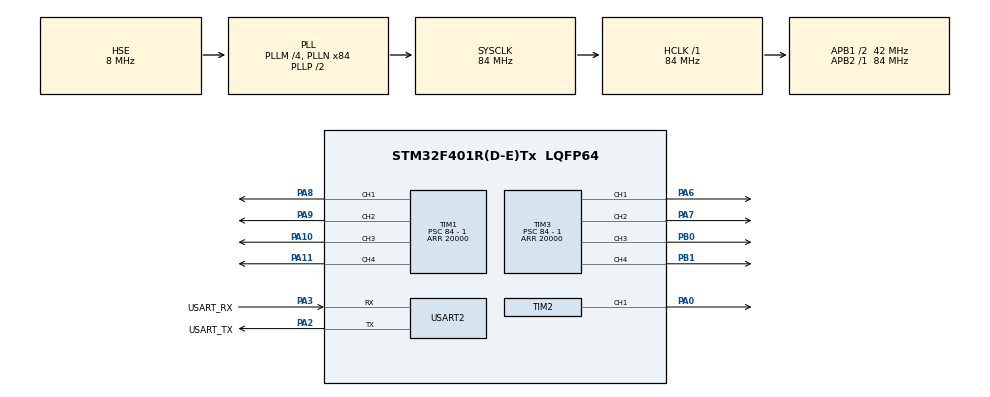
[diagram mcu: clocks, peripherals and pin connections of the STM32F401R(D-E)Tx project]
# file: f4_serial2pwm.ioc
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Mcu.Family=STM32F4
Mcu.Name=STM32F401R(D-E)Tx
Mcu.Package=LQFP64
NVIC.PriorityGroup=NVIC_PRIORITYGROUP_4
NVIC.USART2_IRQn=true\:0\:0\:false\:false\:true\:true\:true\:true
PA0-WKUP.Signal=S_TIM2_CH1_ETR
PA10.Signal=S_TIM1_CH3
PA11.Signal=S_TIM1_CH4
PA2.GPIO_Label=USART_TX
PA2.GPIO_Mode=GPIO_MODE_AF_PP
PA2.GPIO_PuPd=GPIO_NOPULL
PA2.GPIO_Speed=GPIO_SPEED_FREQ_LOW
PA2.Mode=Asynchronous
PA2.Signal=USART2_TX
PA3.GPIO_Label=USART_RX
PA3.GPIO_Mode=GPIO_MODE_AF_PP
PA3.GPIO_PuPd=GPIO_NOPULL
PA3.GPIO_Speed=GPIO_SPEED_FREQ_LOW
PA3.Mode=Asynchronous
PA3.Signal=USART2_RX
PA6.Signal=S_TIM3_CH1
PA7.Signal=S_TIM3_CH2
PA8.Signal=S_TIM1_CH1
PA9.Signal=S_TIM1_CH2
PB0.Signal=S_TIM3_CH3
PB1.Signal=S_TIM3_CH4
PH0\ -\ OSC_IN.Mode=HSE-External-Oscillator
PH0\ -\ OSC_IN.Signal=RCC_OSC_IN
PH1\ -\ OSC_OUT.Mode=HSE-External-Oscillator
PH1\ -\ OSC_OUT.Signal=RCC_OSC_OUT
ProjectManager.HeapSize=0x200
ProjectManager.StackSize=0x400
ProjectManager.TargetToolchain=STM32CubeIDE
RCC.48MHZClocksFreq_Value=24000000
RCC.AHBFreq_Value=84000000
RCC.APB1CLKDivider=RCC_HCLK_DIV2
RCC.APB1Freq_Value=42000000
RCC.APB1TimFreq_Value=84000000
RCC.APB2Freq_Value=84000000
RCC.APB2TimFreq_Value=84000000
RCC.CortexFreq_Value=84000000
RCC.HCLKFreq_Value=84000000
RCC.HSE_VALUE=8000000
RCC.HSI_VALUE=16000000
RCC.LSE_VALUE=32768
RCC.PLLM=4
RCC.PLLN=84
RCC.PLLQ=7
RCC.PLLSourceVirtual=RCC_PLLSOURCE_HSE
RCC.SYSCLKFreq_VALUE=84000000
RCC.SYSCLKSource=RCC_SYSCLKSOURCE_PLLCLK
RCC.VCOOutputFreq_Value=168000000
SH.S_TIM1_CH1.0=TIM1_CH1,PWM Generation1 CH1
SH.S_TIM1_CH2.0=TIM1_CH2,PWM Generation2 CH2
SH.S_TIM1_CH3.0=TIM1_CH3,PWM Generation3 CH3
SH.S_TIM1_CH4.0=TIM1_CH4,PWM Generation4 CH4
SH.S_TIM2_CH1_ETR.0=TIM2_CH1,PWM Generation1 CH1
SH.S_TIM3_CH1.0=TIM3_CH1,PWM Generation1 CH1
SH.S_TIM3_CH2.0=TIM3_CH2,PWM Generation2 CH2
SH.S_TIM3_CH3.0=TIM3_CH3,PWM Generation3 CH3
SH.S_TIM3_CH4.0=TIM3_CH4,PWM Generation4 CH4
TIM1.AutoReloadPreload=TIM_AUTORELOAD_PRELOAD_ENABLE
TIM1.Channel-PWM\ Generation1\ CH1=TIM_CHANNEL_1
TIM1.Channel-PWM\ Generation2\ CH2=TIM_CHANNEL_2
TIM1.Channel-PWM\ Generation3\ CH3=TIM_CHANNEL_3
TIM1.Channel-PWM\ Generation4\ CH4=TIM_CHANNEL_4
TIM1.Period=20000
TIM1.Prescaler=84 - 1
TIM1.Pulse-PWM\ Generation1\ CH1=0
TIM1.Pulse-PWM\ Generation2\ CH2=0
TIM1.Pulse-PWM\ Generation3\ CH3=0
TIM2.AutoReloadPreload=TIM_AUTORELOAD_PRELOAD_ENABLE
TIM2.Channel-PWM\ Generation1\ CH1=TIM_CHANNEL_1
TIM2.Period=20000
TIM2.Prescaler=84 - 1
TIM2.Pulse-PWM\ Generation1\ CH1=0
TIM3.AutoReloadPreload=TIM_AUTORELOAD_PRELOAD_ENABLE
TIM3.Channel-PWM\ Generation1\ CH1=TIM_CHANNEL_1
TIM3.Channel-PWM\ Generation2\ CH2=TIM_CHANNEL_2
TIM3.Channel-PWM\ Generation3\ CH3=TIM_CHANNEL_3
TIM3.Channel-PWM\ Generation4\ CH4=TIM_CHANNEL_4
TIM3.Period=20000
TIM3.Prescaler=84 - 1
TIM3.Pulse-PWM\ Generation1\ CH1=0
TIM3.Pulse-PWM\ Generation2\ CH2=0
TIM3.Pulse-PWM\ Generation3\ CH3=0
TIM3.Pulse-PWM\ Generation4\ CH4=0
USART2.VirtualMode=VM_ASYNC
VP_TIM1_VS_ClockSourceINT.Mode=Internal
VP_TIM2_VS_ClockSourceINT.Mode=Internal
VP_TIM3_VS_ClockSourceINT.Mode=Internal
board=NUCLEO-F401RE

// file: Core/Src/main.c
/* USER CODE BEGIN Header */
/**
  ******************************************************************************
  * @file           : main.c
  * @brief          : Main program body
  ******************************************************************************
  * @attention
  *
  * Copyright (c) 2026 STMicroelectronics.
  * All rights reserved.
  *
  * This software is licensed under terms that can be found in the LICENSE file
  * in the root directory of this software component.
  * If no LICENSE file comes with this software, it is provided AS-IS.
  *
  ******************************************************************************
  */
/* USER CODE END Header */
#include "main.h"

TIM_HandleTypeDef htim1;
TIM_HandleTypeDef htim2;
TIM_HandleTypeDef htim3;

UART_HandleTypeDef huart2;

/* USER CODE BEGIN PV */

uint16_t pwm_values[8];

/* USER CODE END PV */

void SystemClock_Config(void);
static void MX_GPIO_Init(void);
static void MX_USART2_UART_Init(void);
static void MX_TIM1_Init(void);
static void MX_TIM3_Init(void);
static void MX_TIM2_Init(void);

/* USER CODE BEGIN 0 */

void HAL_UART_RxCpltCallback(UART_HandleTypeDef *huart)
{
	htim1.Instance->CCR1 = pwm_values[0];
	htim1.Instance->CCR2 = pwm_values[1];
	htim1.Instance->CCR3 = pwm_values[2];
	htim2.Instance->CCR1 = pwm_values[3];
	htim3.Instance->CCR1 = pwm_values[4];
	htim3.Instance->CCR2 = pwm_values[5];
	htim3.Instance->CCR3 = pwm_values[6];
	htim3.Instance->CCR4 = pwm_values[7];
	HAL_UART_Receive_IT(&huart2, (uint8_t *)pwm_values, 16);
}

/* USER CODE END 0 */

int main(void)
{

  /* MCU Configuration--------------------------------------------------------*/

  /* Reset of all peripherals, Initializes the Flash interface and the Systick. */
  HAL_Init();

  /* Configure the system clock */
  SystemClock_Config();

  /* Initialize all configured peripherals */
  MX_GPIO_Init();
  MX_USART2_UART_Init();
  MX_TIM1_Init();
  MX_TIM3_Init();
  MX_TIM2_Init();
  /* USER CODE BEGIN 2 */
  HAL_UART_Receive_IT(&huart2, (uint8_t *)pwm_values, 16);

  HAL_TIM_PWM_Start(&htim1, TIM_CHANNEL_1);
  HAL_TIM_PWM_Start(&htim1, TIM_CHANNEL_2);
  HAL_TIM_PWM_Start(&htim1, TIM_CHANNEL_3);
  HAL_TIM_PWM_Start(&htim2, TIM_CHANNEL_1);
  HAL_TIM_PWM_Start(&htim3, TIM_CHANNEL_1);
  HAL_TIM_PWM_Start(&htim3, TIM_CHANNEL_2);
  HAL_TIM_PWM_Start(&htim3, TIM_CHANNEL_3);
  HAL_TIM_PWM_Start(&htim3, TIM_CHANNEL_4);
  /* USER CODE END 2 */

  /* Infinite loop */
  while (1)
  {

  }
}

void SystemClock_Config(void)
{
  RCC_OscInitTypeDef RCC_OscInitStruct = {0};
  RCC_ClkInitTypeDef RCC_ClkInitStruct = {0};

  /** Configure the main internal regulator output voltage
  */
  __HAL_RCC_PWR_CLK_ENABLE();
  __HAL_PWR_VOLTAGESCALING_CONFIG(PWR_REGULATOR_VOLTAGE_SCALE2);

  /** Initializes the RCC Oscillators according to the specified parameters
  * in the RCC_OscInitTypeDef structure.
  */
  RCC_OscInitStruct.OscillatorType = RCC_OSCILLATORTYPE_HSE;
  RCC_OscInitStruct.HSEState = RCC_HSE_ON;
  RCC_OscInitStruct.PLL.PLLState = RCC_PLL_ON;
  RCC_OscInitStruct.PLL.PLLSource = RCC_PLLSOURCE_HSE;
  RCC_OscInitStruct.PLL.PLLM = 4;
  RCC_OscInitStruct.PLL.PLLN = 84;
  RCC_OscInitStruct.PLL.PLLP = RCC_PLLP_DIV2;
  RCC_OscInitStruct.PLL.PLLQ = 7;
  if (HAL_RCC_OscConfig(&RCC_OscInitStruct) != HAL_OK)
  {
    Error_Handler();
  }

  /** Initializes the CPU, AHB and APB buses clocks
  */
  RCC_ClkInitStruct.ClockType = RCC_CLOCKTYPE_HCLK|RCC_CLOCKTYPE_SYSCLK
                              |RCC_CLOCKTYPE_PCLK1|RCC_CLOCKTYPE_PCLK2;
  RCC_ClkInitStruct.SYSCLKSource = RCC_SYSCLKSOURCE_PLLCLK;
  RCC_ClkInitStruct.AHBCLKDivider = RCC_SYSCLK_DIV1;
  RCC_ClkInitStruct.APB1CLKDivider = RCC_HCLK_DIV2;
  RCC_ClkInitStruct.APB2CLKDivider = RCC_HCLK_DIV1;

  if (HAL_RCC_ClockConfig(&RCC_ClkInitStruct, FLASH_LATENCY_2) != HAL_OK)
  {
    Error_Handler();
  }
}

static void MX_TIM1_Init(void)
{

  TIM_ClockConfigTypeDef sClockSourceConfig = {0};
  TIM_MasterConfigTypeDef sMasterConfig = {0};
  TIM_OC_InitTypeDef sConfigOC = {0};
  TIM_BreakDeadTimeConfigTypeDef sBreakDeadTimeConfig = {0};

  htim1.Instance = TIM1;
  htim1.Init.Prescaler = 84 - 1;
  htim1.Init.CounterMode = TIM_COUNTERMODE_UP;
  htim1.Init.Period = 20000;
  htim1.Init.ClockDivision = TIM_CLOCKDIVISION_DIV1;
  htim1.Init.RepetitionCounter = 0;
  htim1.Init.AutoReloadPreload = TIM_AUTORELOAD_PRELOAD_ENABLE;
  if (HAL_TIM_Base_Init(&htim1) != HAL_OK)
  {
    Error_Handler();
  }
  sClockSourceConfig.ClockSource = TIM_CLOCKSOURCE_INTERNAL;
  if (HAL_TIM_ConfigClockSource(&htim1, &sClockSourceConfig) != HAL_OK)
  {
    Error_Handler();
  }
  if (HAL_TIM_PWM_Init(&htim1) != HAL_OK)
  {
    Error_Handler();
  }
  sMasterConfig.MasterOutputTrigger = TIM_TRGO_RESET;
  sMasterConfig.MasterSlaveMode = TIM_MASTERSLAVEMODE_DISABLE;
  if (HAL_TIMEx_MasterConfigSynchronization(&htim1, &sMasterConfig) != HAL_OK)
  {
    Error_Handler();
  }
  sConfigOC.OCMode = TIM_OCMODE_PWM1;
  sConfigOC.Pulse = 0;
  sConfigOC.OCPolarity = TIM_OCPOLARITY_HIGH;
  sConfigOC.OCNPolarity = TIM_OCNPOLARITY_HIGH;
  sConfigOC.OCFastMode = TIM_OCFAST_DISABLE;
  sConfigOC.OCIdleState = TIM_OCIDLESTATE_RESET;
  sConfigOC.OCNIdleState = TIM_OCNIDLESTATE_RESET;
  if (HAL_TIM_PWM_ConfigChannel(&htim1, &sConfigOC, TIM_CHANNEL_1) != HAL_OK)
  {
    Error_Handler();
  }
  if (HAL_TIM_PWM_ConfigChannel(&htim1, &sConfigOC, TIM_CHANNEL_2) != HAL_OK)
  {
    Error_Handler();
  }
  if (HAL_TIM_PWM_ConfigChannel(&htim1, &sConfigOC, TIM_CHANNEL_3) != HAL_OK)
  {
    Error_Handler();
  }
  if (HAL_TIM_PWM_ConfigChannel(&htim1, &sConfigOC, TIM_CHANNEL_4) != HAL_OK)
  {
    Error_Handler();
  }
  sBreakDeadTimeConfig.OffStateRunMode = TIM_OSSR_DISABLE;
  sBreakDeadTimeConfig.OffStateIDLEMode = TIM_OSSI_DISABLE;
  sBreakDeadTimeConfig.LockLevel = TIM_LOCKLEVEL_OFF;
  sBreakDeadTimeConfig.DeadTime = 0;
  sBreakDeadTimeConfig.BreakState = TIM_BREAK_DISABLE;
  sBreakDeadTimeConfig.BreakPolarity = TIM_BREAKPOLARITY_HIGH;
  sBreakDeadTimeConfig.AutomaticOutput = TIM_AUTOMATICOUTPUT_DISABLE;
  if (HAL_TIMEx_ConfigBreakDeadTime(&htim1, &sBreakDeadTimeConfig) != HAL_OK)
  {
    Error_Handler();
  }
  HAL_TIM_MspPostInit(&htim1);

}

static void MX_TIM2_Init(void)
{

  TIM_ClockConfigTypeDef sClockSourceConfig = {0};
  TIM_MasterConfigTypeDef sMasterConfig = {0};
  TIM_OC_InitTypeDef sConfigOC = {0};

  htim2.Instance = TIM2;
  htim2.Init.Prescaler = 84 - 1;
  htim2.Init.CounterMode = TIM_COUNTERMODE_UP;
  htim2.Init.Period = 20000;
  htim2.Init.ClockDivision = TIM_CLOCKDIVISION_DIV1;
  htim2.Init.AutoReloadPreload = TIM_AUTORELOAD_PRELOAD_ENABLE;
  if (HAL_TIM_Base_Init(&htim2) != HAL_OK)
  {
    Error_Handler();
  }
  sClockSourceConfig.ClockSource = TIM_CLOCKSOURCE_INTERNAL;
  if (HAL_TIM_ConfigClockSource(&htim2, &sClockSourceConfig) != HAL_OK)
  {
    Error_Handler();
  }
  if (HAL_TIM_PWM_Init(&htim2) != HAL_OK)
  {
    Error_Handler();
  }
  sMasterConfig.MasterOutputTrigger = TIM_TRGO_RESET;
  sMasterConfig.MasterSlaveMode = TIM_MASTERSLAVEMODE_DISABLE;
  if (HAL_TIMEx_MasterConfigSynchronization(&htim2, &sMasterConfig) != HAL_OK)
  {
    Error_Handler();
  }
  sConfigOC.OCMode = TIM_OCMODE_PWM1;
  sConfigOC.Pulse = 0;
  sConfigOC.OCPolarity = TIM_OCPOLARITY_HIGH;
  sConfigOC.OCFastMode = TIM_OCFAST_DISABLE;
  if (HAL_TIM_PWM_ConfigChannel(&htim2, &sConfigOC, TIM_CHANNEL_1) != HAL_OK)
  {
    Error_Handler();
  }
  HAL_TIM_MspPostInit(&htim2);

}

static void MX_TIM3_Init(void)
{

  TIM_ClockConfigTypeDef sClockSourceConfig = {0};
  TIM_MasterConfigTypeDef sMasterConfig = {0};
  TIM_OC_InitTypeDef sConfigOC = {0};

  htim3.Instance = TIM3;
  htim3.Init.Prescaler = 84 - 1;
  htim3.Init.CounterMode = TIM_COUNTERMODE_UP;
  htim3.Init.Period = 20000;
  htim3.Init.ClockDivision = TIM_CLOCKDIVISION_DIV1;
  htim3.Init.AutoReloadPreload = TIM_AUTORELOAD_PRELOAD_ENABLE;
  if (HAL_TIM_Base_Init(&htim3) != HAL_OK)
  {
    Error_Handler();
  }
  sClockSourceConfig.ClockSource = TIM_CLOCKSOURCE_INTERNAL;
  if (HAL_TIM_ConfigClockSource(&htim3, &sClockSourceConfig) != HAL_OK)
  {
    Error_Handler();
  }
  if (HAL_TIM_PWM_Init(&htim3) != HAL_OK)
  {
    Error_Handler();
  }
  sMasterConfig.MasterOutputTrigger = TIM_TRGO_RESET;
  sMasterConfig.MasterSlaveMode = TIM_MASTERSLAVEMODE_DISABLE;
  if (HAL_TIMEx_MasterConfigSynchronization(&htim3, &sMasterConfig) != HAL_OK)
  {
    Error_Handler();
  }
  sConfigOC.OCMode = TIM_OCMODE_PWM1;
  sConfigOC.Pulse = 0;
  sConfigOC.OCPolarity = TIM_OCPOLARITY_HIGH;
  sConfigOC.OCFastMode = TIM_OCFAST_DISABLE;
  if (HAL_TIM_PWM_ConfigChannel(&htim3, &sConfigOC, TIM_CHANNEL_1) != HAL_OK)
  {
    Error_Handler();
  }
  if (HAL_TIM_PWM_ConfigChannel(&htim3, &sConfigOC, TIM_CHANNEL_2) != HAL_OK)
  {
    Error_Handler();
  }
  if (HAL_TIM_PWM_ConfigChannel(&htim3, &sConfigOC, TIM_CHANNEL_3) != HAL_OK)
  {
    Error_Handler();
  }
  if (HAL_TIM_PWM_ConfigChannel(&htim3, &sConfigOC, TIM_CHANNEL_4) != HAL_OK)
  {
    Error_Handler();
  }
  HAL_TIM_MspPostInit(&htim3);

}

static void MX_USART2_UART_Init(void)
{

  huart2.Instance = USART2;
  huart2.Init.BaudRate = 115200;
  huart2.Init.WordLength = UART_WORDLENGTH_8B;
  huart2.Init.StopBits = UART_STOPBITS_1;
  huart2.Init.Parity = UART_PARITY_NONE;
  huart2.Init.Mode = UART_MODE_TX_RX;
  huart2.Init.HwFlowCtl = UART_HWCONTROL_NONE;
  huart2.Init.OverSampling = UART_OVERSAMPLING_16;
  if (HAL_UART_Init(&huart2) != HAL_OK)
  {
    Error_Handler();
  }

}

static void MX_GPIO_Init(void)
{

  /* GPIO Ports Clock Enable */
  __HAL_RCC_GPIOH_CLK_ENABLE();
  __HAL_RCC_GPIOA_CLK_ENABLE();
  __HAL_RCC_GPIOB_CLK_ENABLE();

}

void Error_Handler(void)
{
  __disable_irq();
  while (1)
  {
  }
}
